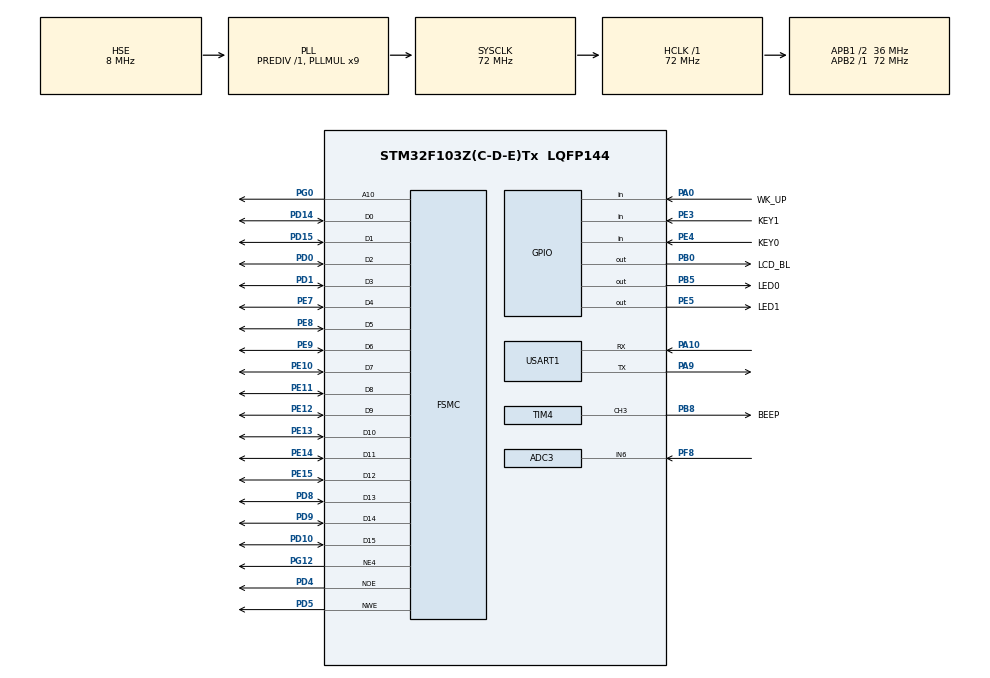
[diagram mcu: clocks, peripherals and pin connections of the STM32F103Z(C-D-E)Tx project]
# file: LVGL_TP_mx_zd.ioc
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ADC3.Channel-1\#ChannelRegularConversion=ADC_CHANNEL_6
ADC3.ContinuousConvMode=ENABLE
ADC3.EnableRegularConversion=ENABLE
ADC3.NbrOfConversion=1
ADC3.NbrOfConversionFlag=1
ADC3.Rank-1\#ChannelRegularConversion=1
ADC3.SamplingTime-1\#ChannelRegularConversion=ADC_SAMPLETIME_71CYCLES_5
Dma.ADC3.2.Direction=DMA_PERIPH_TO_MEMORY
Dma.ADC3.2.Instance=DMA2_Channel5
Dma.ADC3.2.MemDataAlignment=DMA_MDATAALIGN_HALFWORD
Dma.ADC3.2.MemInc=DMA_MINC_ENABLE
Dma.ADC3.2.Mode=DMA_CIRCULAR
Dma.ADC3.2.PeriphDataAlignment=DMA_PDATAALIGN_HALFWORD
Dma.ADC3.2.PeriphInc=DMA_PINC_DISABLE
Dma.ADC3.2.Priority=DMA_PRIORITY_LOW
Dma.Request0=USART1_RX
Dma.Request1=USART1_TX
Dma.Request2=ADC3
Dma.USART1_RX.0.Direction=DMA_PERIPH_TO_MEMORY
Dma.USART1_RX.0.Instance=DMA1_Channel5
Dma.USART1_RX.0.MemDataAlignment=DMA_MDATAALIGN_BYTE
Dma.USART1_RX.0.MemInc=DMA_MINC_ENABLE
Dma.USART1_RX.0.Mode=DMA_NORMAL
Dma.USART1_RX.0.PeriphDataAlignment=DMA_PDATAALIGN_BYTE
Dma.USART1_RX.0.PeriphInc=DMA_PINC_DISABLE
Dma.USART1_RX.0.Priority=DMA_PRIORITY_LOW
Dma.USART1_TX.1.Direction=DMA_MEMORY_TO_PERIPH
Dma.USART1_TX.1.Instance=DMA1_Channel4
Dma.USART1_TX.1.MemDataAlignment=DMA_MDATAALIGN_BYTE
Dma.USART1_TX.1.MemInc=DMA_MINC_ENABLE
Dma.USART1_TX.1.Mode=DMA_NORMAL
Dma.USART1_TX.1.PeriphDataAlignment=DMA_PDATAALIGN_BYTE
Dma.USART1_TX.1.PeriphInc=DMA_PINC_DISABLE
Dma.USART1_TX.1.Priority=DMA_PRIORITY_LOW
FSMC.AddressSetupTime4=6
FSMC.BusTurnAroundDuration4=0
FSMC.DataSetupTime4=26
FSMC.ExtendedAddressSetupTime4=3
FSMC.ExtendedDataSetupTime4=6
FSMC.ExtendedMode4=FSMC_EXTENDED_MODE_ENABLE
Mcu.Family=STM32F1
Mcu.Name=STM32F103Z(C-D-E)Tx
Mcu.Package=LQFP144
NVIC.ADC3_IRQn=true\:0\:0\:false\:false\:true\:true\:true\:true
NVIC.DMA1_Channel4_IRQn=true\:0\:0\:false\:false\:true\:false\:true\:true
NVIC.DMA1_Channel5_IRQn=true\:0\:0\:false\:false\:true\:false\:true\:true
NVIC.DMA2_Channel4_5_IRQn=true\:0\:0\:false\:false\:true\:false\:true\:true
NVIC.PriorityGroup=NVIC_PRIORITYGROUP_4
NVIC.RTC_Alarm_IRQn=true\:0\:0\:false\:false\:true\:true\:true\:true
NVIC.RTC_IRQn=true\:0\:0\:false\:false\:true\:true\:true\:true
NVIC.TIM2_IRQn=true\:3\:0\:true\:false\:true\:true\:true\:true
NVIC.USART1_IRQn=true\:0\:0\:false\:false\:true\:true\:true\:true
OSC_IN.Mode=HSE-External-Oscillator
OSC_IN.Signal=RCC_OSC_IN
OSC_OUT.Mode=HSE-External-Oscillator
OSC_OUT.Signal=RCC_OSC_OUT
PA0-WKUP.GPIO_Label=WK_UP
PA0-WKUP.GPIO_PuPd=GPIO_PULLDOWN
PA0-WKUP.Signal=GPIO_Input
PA10.Mode=Asynchronous
PA10.Signal=USART1_RX
PA13.Mode=Serial_Wire
PA13.Signal=SYS_JTMS-SWDIO
PA14.Mode=Serial_Wire
PA14.Signal=SYS_JTCK-SWCLK
PA9.Mode=Asynchronous
PA9.Signal=USART1_TX
PB0.GPIO_Label=LCD_BL
PB0.Signal=GPIO_Output
PB5.GPIO_Label=LED0
PB5.Signal=GPIO_Output
PB8.GPIO_Label=BEEP
PB8.Signal=S_TIM4_CH3
PC14-OSC32_IN.Mode=LSE-External-Oscillator
PC14-OSC32_IN.Signal=RCC_OSC32_IN
PC15-OSC32_OUT.Mode=LSE-External-Oscillator
PC15-OSC32_OUT.Signal=RCC_OSC32_OUT
PD0.Signal=FSMC_D2_DA2
PD1.Signal=FSMC_D3_DA3
PD10.Signal=FSMC_D15_DA15
PD14.Signal=FSMC_D0_DA0
PD15.Signal=FSMC_D1_DA1
PD4.Signal=FSMC_NOE
PD5.Signal=FSMC_NWE
PD8.Signal=FSMC_D13_DA13
PD9.Signal=FSMC_D14_DA14
PE10.Signal=FSMC_D7_DA7
PE11.Signal=FSMC_D8_DA8
PE12.Signal=FSMC_D9_DA9
PE13.Signal=FSMC_D10_DA10
PE14.Signal=FSMC_D11_DA11
PE15.Signal=FSMC_D12_DA12
PE3.GPIO_Label=KEY1
PE3.GPIO_PuPd=GPIO_PULLUP
PE3.Signal=GPIO_Input
PE4.GPIO_Label=KEY0
PE4.GPIO_PuPd=GPIO_PULLUP
PE4.Signal=GPIO_Input
PE5.GPIO_Label=LED1
PE5.Signal=GPIO_Output
PE7.Signal=FSMC_D4_DA4
PE8.Signal=FSMC_D5_DA5
PE9.Signal=FSMC_D6_DA6
PF8.Mode=IN6
PF8.Signal=ADC3_IN6
PG0.Signal=FSMC_A10
PG12.Mode=NorPsramChipSelect4_4
PG12.Signal=FSMC_NE4
ProjectManager.HeapSize=0x200
ProjectManager.StackSize=0x1000
ProjectManager.TargetToolchain=MDK-ARM V5
RCC.ADCPresc=RCC_ADCPCLK2_DIV6
RCC.AHBFreq_Value=72000000
RCC.APB1CLKDivider=RCC_HCLK_DIV2
RCC.APB1Freq_Value=36000000
RCC.APB1TimFreq_Value=72000000
RCC.APB2Freq_Value=72000000
RCC.APB2TimFreq_Value=72000000
RCC.HCLKFreq_Value=72000000
RCC.PLLMUL=RCC_PLL_MUL9
RCC.PLLSourceVirtual=RCC_PLLSOURCE_HSE
RCC.RTCClockSelection=RCC_RTCCLKSOURCE_LSE
RCC.SYSCLKFreq_VALUE=72000000
RCC.SYSCLKSource=RCC_SYSCLKSOURCE_PLLCLK
RCC.USBFreq_Value=72000000
SH.FSMC_A10.0=FSMC_A10,A10_4
SH.FSMC_D0_DA0.0=FSMC_D0,16b-d4
SH.FSMC_D10_DA10.0=FSMC_D10,16b-d4
SH.FSMC_D11_DA11.0=FSMC_D11,16b-d4
SH.FSMC_D12_DA12.0=FSMC_D12,16b-d4
SH.FSMC_D13_DA13.0=FSMC_D13,16b-d4
SH.FSMC_D14_DA14.0=FSMC_D14,16b-d4
SH.FSMC_D15_DA15.0=FSMC_D15,16b-d4
SH.FSMC_D1_DA1.0=FSMC_D1,16b-d4
SH.FSMC_D2_DA2.0=FSMC_D2,16b-d4
SH.FSMC_D3_DA3.0=FSMC_D3,16b-d4
SH.FSMC_D4_DA4.0=FSMC_D4,16b-d4
SH.FSMC_D5_DA5.0=FSMC_D5,16b-d4
SH.FSMC_D6_DA6.0=FSMC_D6,16b-d4
SH.FSMC_D7_DA7.0=FSMC_D7,16b-d4
SH.FSMC_D8_DA8.0=FSMC_D8,16b-d4
SH.FSMC_D9_DA9.0=FSMC_D9,16b-d4
SH.FSMC_NOE.0=FSMC_NOE,Lcd4
SH.FSMC_NWE.0=FSMC_NWE,Lcd4
SH.S_TIM4_CH3.0=TIM4_CH3,PWM Generation3 CH3
TIM2.AutoReloadPreload=TIM_AUTORELOAD_PRELOAD_ENABLE
TIM2.Period=999
TIM2.Prescaler=71
TIM4.Channel-PWM\ Generation3\ CH3=TIM_CHANNEL_3
TIM4.Period=999
TIM4.Prescaler=71
TIM7.Period=1000-1
TIM7.Prescaler=72-1
USART1.VirtualMode=VM_ASYNC
VP_RTC_VS_RTC_Activate.Mode=RTC_Enabled
VP_TIM2_VS_ClockSourceINT.Mode=Internal
VP_TIM7_VS_ClockSourceINT.Mode=Enable_Timer
board=custom

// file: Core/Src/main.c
/* USER CODE BEGIN Header */
/**
 ******************************************************************************
 * @file           : main.c
 * @brief          : Main program body
 ******************************************************************************
 * @attention
 *
 * Copyright (c) 2025 STMicroelectronics.
 * All rights reserved.
 *
 * This software is licensed under terms that can be found in the LICENSE file
 * in the root directory of this software component.
 * If no LICENSE file comes with this software, it is provided AS-IS.
 *
 ******************************************************************************
 */
/* USER CODE END Header */
#include "main.h"
#include "adc.h"
#include "dma.h"
#include "rtc.h"
#include "tim.h"
#include "usart.h"
#include "gpio.h"
#include "fsmc.h"

/* USER CODE BEGIN Includes */
#include "task_main.h"
#include "task_automode.h"
/* USER CODE END Includes */

/* USER CODE BEGIN PD */
#define KEY_SCAN_INTERVAL 10       // 按键扫描间隔10ms
#define TASK_AUTOMODE_INTERVAL 100 // 自动模式切换任务每100ms执行一次
/* USER CODE END PD */

/* USER CODE BEGIN PV */
extern uint8_t g_maintaskstate;
extern CalendarState calendarState;
uint32_t last_key_scan_tick = 0;
uint32_t last_automode_tick = 0;
/* USER CODE END PV */

void SystemClock_Config(void);

int main(void)
{

  /* USER CODE BEGIN 1 */
  uint16_t adc_val = 0;
  /*串口测试RTC所需变量
  uint16_t len = 0;
  char str[16];
  */
  /* USER CODE END 1 */

  /* MCU Configuration--------------------------------------------------------*/

  /* Reset of all peripherals, Initializes the Flash interface and the Systick. */
  HAL_Init();

  /* Configure the system clock */
  SystemClock_Config();

  /* Initialize all configured peripherals */
  MX_GPIO_Init();
  MX_DMA_Init();
  MX_FSMC_Init();
  MX_TIM2_Init();
  MX_TIM4_Init();
  MX_ADC3_Init();
  MX_RTC_Init();
  MX_USART1_UART_Init();
  MX_TIM7_Init();
  /* USER CODE BEGIN 2 */

  // 初始化主任务
  MainTaskInit();
  // 初始化自动模式模块
  automode_init();

  // 如果日历状态为正常模式，则启动ADC的DMA转换
  if (calendarState == CalendarState_Normal)
  {
    HAL_ADC_Start_DMA(&hadc3, (uint32_t *)&adc_val, 1);
  }
  // 记录自动模式任务的最后执行时间
  last_automode_tick = HAL_GetTick();
  // 记录按键扫描的最后执行时间
  last_key_scan_tick = HAL_GetTick();
  /* USER CODE END 2 */

  /* Infinite loop */
  /* USER CODE BEGIN WHILE */
  while (1)
  {
    /*串口测试RTC所需变量
        len = sprintf(str,"ADC:%hd\n",adc_val);
        HAL_UART_Transmit_IT(&huart1,(uint8_t *)str,len);
        HAL_Delay(1000);
    */
    // 如果距离上次按键扫描的时间间隔达到设定值，则执行主任务
    if (HAL_GetTick() - last_key_scan_tick >= KEY_SCAN_INTERVAL)
    {
      MainTask();
      // 更新按键扫描的最后执行时间
      last_key_scan_tick = HAL_GetTick();
    }

    // 如果距离上次自动模式任务执行的时间间隔达到设定值，并且日历状态为正常模式，则执行自动模式任务
    if (HAL_GetTick() - last_automode_tick >= TASK_AUTOMODE_INTERVAL && calendarState == CalendarState_Normal)
    {
      automode_task(adc_val);
      // 更新自动模式任务的最后执行时间
      last_automode_tick = HAL_GetTick();
    }

    /* USER CODE END WHILE */

  }
}

void SystemClock_Config(void)
{
  RCC_OscInitTypeDef RCC_OscInitStruct = {0};
  RCC_ClkInitTypeDef RCC_ClkInitStruct = {0};
  RCC_PeriphCLKInitTypeDef PeriphClkInit = {0};

  /** Initializes the RCC Oscillators according to the specified parameters
   * in the RCC_OscInitTypeDef structure.
   */
  RCC_OscInitStruct.OscillatorType = RCC_OSCILLATORTYPE_HSE | RCC_OSCILLATORTYPE_LSE;
  RCC_OscInitStruct.HSEState = RCC_HSE_ON;
  RCC_OscInitStruct.HSEPredivValue = RCC_HSE_PREDIV_DIV1;
  RCC_OscInitStruct.LSEState = RCC_LSE_ON;
  RCC_OscInitStruct.HSIState = RCC_HSI_ON;
  RCC_OscInitStruct.PLL.PLLState = RCC_PLL_ON;
  RCC_OscInitStruct.PLL.PLLSource = RCC_PLLSOURCE_HSE;
  RCC_OscInitStruct.PLL.PLLMUL = RCC_PLL_MUL9;
  if (HAL_RCC_OscConfig(&RCC_OscInitStruct) != HAL_OK)
  {
    Error_Handler();
  }

  /** Initializes the CPU, AHB and APB buses clocks
   */
  RCC_ClkInitStruct.ClockType = RCC_CLOCKTYPE_HCLK | RCC_CLOCKTYPE_SYSCLK | RCC_CLOCKTYPE_PCLK1 | RCC_CLOCKTYPE_PCLK2;
  RCC_ClkInitStruct.SYSCLKSource = RCC_SYSCLKSOURCE_PLLCLK;
  RCC_ClkInitStruct.AHBCLKDivider = RCC_SYSCLK_DIV1;
  RCC_ClkInitStruct.APB1CLKDivider = RCC_HCLK_DIV2;
  RCC_ClkInitStruct.APB2CLKDivider = RCC_HCLK_DIV1;

  if (HAL_RCC_ClockConfig(&RCC_ClkInitStruct, FLASH_LATENCY_2) != HAL_OK)
  {
    Error_Handler();
  }
  PeriphClkInit.PeriphClockSelection = RCC_PERIPHCLK_RTC | RCC_PERIPHCLK_ADC;
  PeriphClkInit.RTCClockSelection = RCC_RTCCLKSOURCE_LSE;
  PeriphClkInit.AdcClockSelection = RCC_ADCPCLK2_DIV6;
  if (HAL_RCCEx_PeriphCLKConfig(&PeriphClkInit) != HAL_OK)
  {
    Error_Handler();
  }
}

/* USER CODE BEGIN 4 */

// delay_ms function, LCD driver need it
void delay_ms(uint32_t ms)
{
  uint32_t ms_uwTick = uwTick;
  while (uwTick - ms_uwTick < ms)
  {
  }
}
/* USER CODE END 4 */

void Error_Handler(void)
{
  __disable_irq();
  while (1)
  {
  }
}
